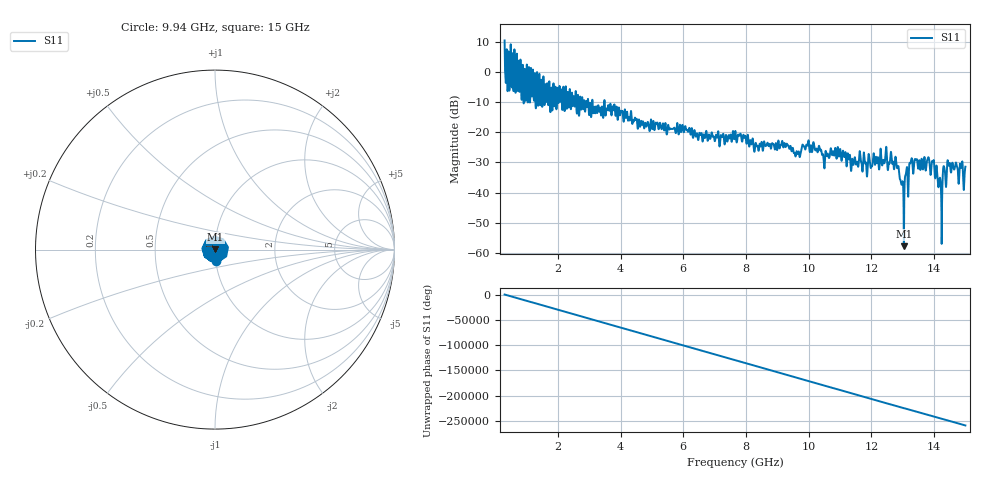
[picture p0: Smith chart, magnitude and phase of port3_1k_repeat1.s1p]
# GHZ S RI R 50.0
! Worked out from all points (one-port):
!   12801 points, 300 MHz to 15 GHz, reference 50 ohm
!   lowest |S11| = -57.7 dB at 13.04 GHz (marker M1), VSWR 1.00, Z = 50.1 + j0.0717 ohm
!   |S11| at or under -10 dB: 2.968 GHz to 3.091 GHz (123.3 MHz wide, 4.07 % of centre); 3.105 GHz to 3.479 GHz (373.8 MHz wide, 11.4 % of centre); 3.492 GHz to end of sweep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
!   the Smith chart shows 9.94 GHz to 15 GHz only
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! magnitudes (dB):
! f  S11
! 300 MHz  10.4
! 397.6 MHz  -6.2
! 747.9 MHz  3.0
! 906.4 MHz  -10.3
! 1.2 GHz  0.2
! 1.309 GHz  -10.9
! 2.138 GHz  -12.5
! 3.975 GHz  -14.3
! 4.601 GHz  -16.9
! 5.812 GHz  -17.1
! 7.65 GHz  -20.4
! 8.328 GHz  -24.1
! 9.488 GHz  -25.2
! 9.948 GHz  -24.3
! 10.46 GHz  -27.7
! 10.89 GHz  -28.7
! 11.32 GHz  -28.5
! 12.63 GHz  -26.9
! 12.82 GHz  -31.7
! 12.98 GHz  -37.0
! 13.04 GHz  -57.7
! 13.16 GHz  -38.3
! 13.27 GHz  -29.2
! 13.81 GHz  -28.4
! 14.02 GHz  -34.5
! 14.2 GHz  -35.3
! 14.48 GHz  -31.0
! 15 GHz  -31.4
